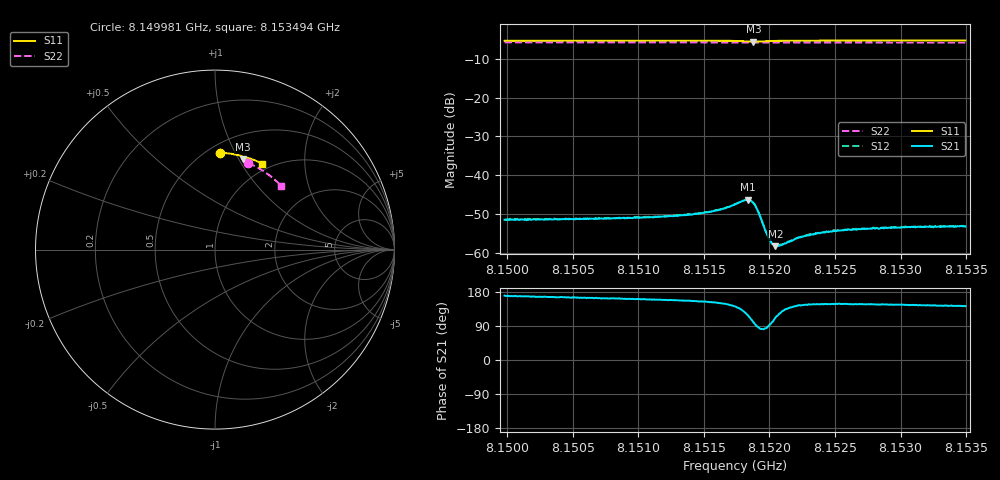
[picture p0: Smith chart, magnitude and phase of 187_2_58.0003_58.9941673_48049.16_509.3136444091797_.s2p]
#  HZ  S  RI  R  50.00
! Rohde & Schwarz Vector Network Analyzer
! Rohde-Schwarz,ZNB20-2Port,1311601062101988,3.16
! Created: UTC 3/21/2024, 12:58:40 AM
! freq[Hz]  re:S11  im:S11  re:S21  im:S21  re:S12  im:S12  re:S22  im:S22
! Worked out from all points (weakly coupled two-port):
!   401 points, 8.149981 GHz to 8.153494 GHz, reference 50 ohm
!   highest |S21| = -46.38 dB at 8.151834 GHz (marker M1); lowest = -58.4 dB at 8.152045 GHz (marker M2)
!   lowest |S11| = -5.6 dB at 8.151878 GHz (marker M3), VSWR 3.22, Z = 37.4 + j52 ohm
!   |S11| at or under -10 dB: nowhere
!   |S22| runs from -5.8 to -5.7 dB; largest |S21 - S12| = 0.00013
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8.1499811e9  0.0297 0.5396  -0.00261 0.000466  -0.00264 0.00054  0.1852 0.4814
8.1505695e9  0.0709 0.5366  -0.00261 0.000745  -0.00264 0.000743  0.2199 0.4657
8.151158e9  0.1122 0.5303  -0.00271 0.00104  -0.00271 0.0011  0.2534 0.4475
8.1513688e9  0.1275 0.527  -0.00281 0.00122  -0.00281 0.00129  0.2649 0.4405
8.1515444e9  0.1405 0.5234  -0.00298 0.00153  -0.003 0.00156  0.2747 0.4344
8.1516498e9  0.1488 0.5201  -0.00315 0.00192  -0.00316 0.00196  0.2802 0.4306
8.1517376e9  0.1559 0.5154  -0.00326 0.0026  -0.00326 0.00266  0.2848 0.4272
8.1517991e9  0.1595 0.5095  -0.00296 0.00357  -0.00292 0.00364  0.2881 0.4249
8.1518342e9  0.1593 0.5054  -0.00229 0.00422  -0.00225 0.00429  0.2897 0.4234
8.1518606e9  0.157 0.503  -0.00139 0.00444  -0.00136 0.00446  0.2908 0.4225
8.1518782e9  0.155 0.5028  -0.000732 0.00429  -0.000652 0.00432  0.2917 0.4218
8.1519133e9  0.1519 0.5055  0.000195 0.00341  0.000267 0.00342  0.2934 0.4206
8.1519748e9  0.1547 0.5119  0.000195 0.00182  0.000217 0.00181  0.2967 0.4186
8.1520011e9  0.1572 0.5133  -6.18e-05 0.00148  -3.81e-05 0.00148  0.2981 0.4178
8.1520275e9  0.1598 0.514  -0.000257 0.00125  -0.000275 0.00126  0.2996 0.4169
8.152045e9  0.1616 0.5143  -0.000442 0.00112  -0.000423 0.00117  0.3005 0.4161
8.1520889e9  0.1658 0.5146  -0.000726 0.00101  -0.000729 0.00105  0.3026 0.4145
8.1522119e9  0.1762 0.513  -0.00124 0.000908  -0.00121 0.000965  0.309 0.4094
8.1523261e9  0.1848 0.5108  -0.00143 0.000942  -0.00145 0.000958  0.3148 0.405
8.1524842e9  0.1961 0.5072  -0.0016 0.001  -0.00162 0.00103  0.3226 0.3985
8.1529145e9  0.2246 0.4961  -0.00173 0.00117  -0.00174 0.00121  0.343 0.3801
8.1534942e9  0.2613 0.4789  -0.00171 0.00133  -0.00174 0.00134  0.369 0.3541
